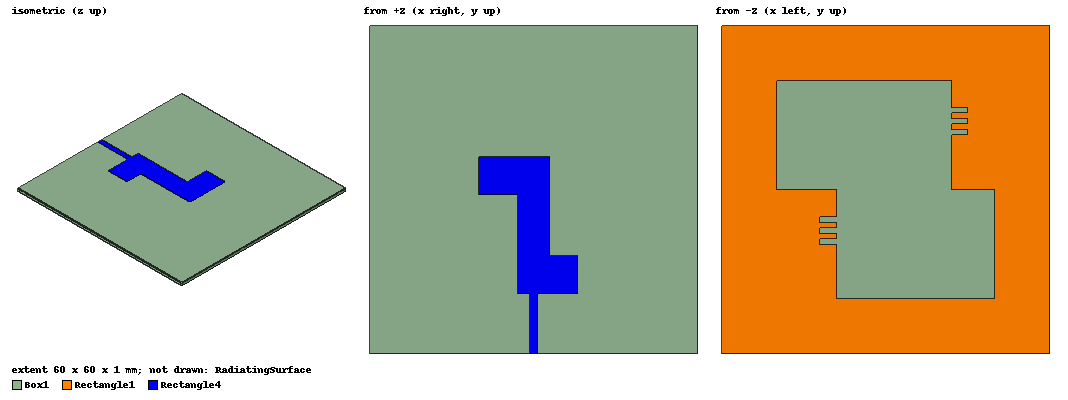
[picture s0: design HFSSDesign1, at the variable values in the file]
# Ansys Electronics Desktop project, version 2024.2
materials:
  vacuum: permittivity=1
  FR4_epoxy: permittivity=4.4 dielectric_loss_tangent=0.02
  copper: permeability=0.999991 conductivity=58000000

design HFSSDesign1 (HFSS, HFSS Modal Network, model units mm)
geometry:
  Rectangle1 = rectangle(corner=(0mm, 0mm, 0mm), x_size=60mm, y_size=60mm)
  Rectangle2 = rectangle(corner=(10mm, 10mm, 0mm), x_size=40mm, y_size=40mm)
  Rectangle1.subtract(Rectangle2)
  Rectangle6 = rectangle(corner=(10mm, 50mm, 0mm), x_size=8mm, y_size=-20mm)
  Rectangle7 = rectangle(corner=(50mm, 10mm, 0mm), x_size=-11mm, y_size=20mm)
  Rectangle1.unite(Rectangle6, Rectangle7)
  Rectangle9 = rectangle(corner=((50-11) mm, 20mm, 0mm), x_size=3mm, y_size=1mm)
  Rectangle1.subtract(Rectangle9)
  Box1 [FR4_epoxy] = box(corner=(0mm, 0mm, 0mm), size=(60mm, 60mm, 1mm))
  Rectangle4 = rectangle(corner=((29.5-0.25) mm, 11mm, 1mm), x_size=1.5mm, y_size=-11mm)
  Rectangle3 = rectangle(corner=(27mm, 11mm, 1mm), x_size=6mm, y_size=25mm)
  Rectangle8 = rectangle(corner=(33mm, 11mm, 1mm), x_size=5mm, y_size=7mm)
  Rectangle4.unite(Rectangle3, Rectangle8)
  RadiatingSurface [vacuum] = region(absolute_offset=37.037037mm on all sides)
  Rectangle10 = rectangle(corner=(39mm, 22mm, 0mm), x_size=3mm, y_size=1mm)
  Rectangle1.subtract(Rectangle10)
  Rectangle11 = rectangle(corner=((50-11) mm, 24mm, 0mm), x_size=3mm, y_size=1mm)
  Rectangle1.subtract(Rectangle11)
  Rectangle12 = rectangle(corner=(18mm, 40mm, 0mm), x_size=-3mm, y_size=1mm)
  Rectangle13 = rectangle(corner=(18mm, 42mm, 0mm), x_size=-3mm, y_size=1mm)
  Rectangle14 = rectangle(corner=(18mm, 44mm, 0mm), x_size=-3mm, y_size=1mm)
  Rectangle1.subtract(Rectangle12, Rectangle13, Rectangle14)
  Rectangle15 = rectangle(corner=(27mm, (18+25-7) mm, 1mm), x_size=-7mm, y_size=-7mm)
  Rectangle4.unite(Rectangle15)
  Rectangle16 = rectangle(corner=(29.25mm, 0mm, 1mm), z_size=-1mm, x_size=1.5mm)
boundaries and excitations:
  PerfE1: Perfect E Objects=Rectangle1
  PerfE2: Perfect E Objects=Rectangle4
  Open1: Radiation Objects=RadiatingSurface
  1: Lumped Port Objects=Rectangle16 LumpedPortType=Modal Modes{Mode1{IntLine{(30, 0, 1) -> (30, 0, 0)} CharImp=Zpi RenormImp=50ohm}} Impedance=50ohm
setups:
  Setup4: HfssDriven MultipleAdaptiveFreqsSetup{Low=0.1GHz High=12GHz} MaxDeltaS=0.02 MaximumPasses=6 MinimumPasses=1 MinimumConvergedPasses=1 PercentRefinement=30 BasisOrder=1 PortAccuracy=2 DrivenSolverType="Direct Solver"
    sweep Sweep: 0.1GHz to 12GHz, 51 points; Type=Discrete SaveFields
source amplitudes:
  1:1: 1W 0deg
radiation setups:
  Infinite Sphere1: Infinite Sphere Theta=-180deg..180deg step 2deg Phi=0deg..360deg step 90deg
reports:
  S Parameter Plot 1: dB(S(1,1)) vs Freq on Setup4 : Sweep
  Axial Ratio Plot 1: dB(AxialRatioValue) vs Freq on Setup4 : Sweep, Infinite Sphere1 [Phi=0deg Theta=0deg]
  XZ_2.7: dB(GainLHCP), dB(GainRHCP) vs Theta on Setup4 : Sweep, Infinite Sphere1 [Phi=0deg Freq=2.718GHz]
  XZ_6: dB(GainLHCP), dB(GainRHCP) vs Theta on Setup4 : Sweep, Infinite Sphere1 [Phi=0deg Freq=6.05GHz]
  XZ_8.5: dB(GainLHCP), dB(GainRHCP) vs Theta on Setup4 : Sweep, Infinite Sphere1 [Phi=0deg Freq=8.43GHz]
  YZ_2.7: dB(GainLHCP), dB(GainRHCP) vs Theta on Setup4 : Sweep, Infinite Sphere1 [Phi=180deg Freq=2.718GHz]
  YZ_6: dB(GainLHCP), dB(GainRHCP) vs Theta on Setup4 : Sweep, Infinite Sphere1 [Phi=180deg Freq=6.05GHz]
  YZ_8.5: dB(GainLHCP), dB(GainRHCP) vs Theta on Setup4 : Sweep, Infinite Sphere1 [Phi=180deg Freq=8.43GHz]
